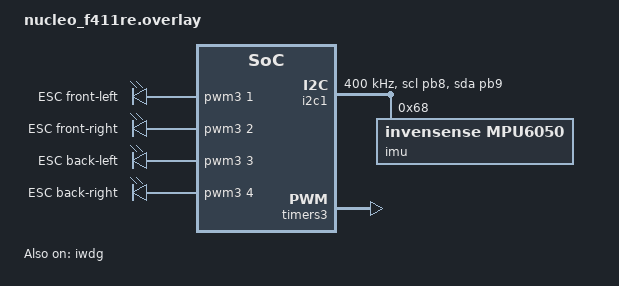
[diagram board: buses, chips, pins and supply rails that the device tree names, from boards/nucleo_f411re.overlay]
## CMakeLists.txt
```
# DroneCtrl, Zephyr application build.
#
#   west build -b nucleo_f411re zephyr
#   west flash
#   west debug
#
# The include path reaches back into firmware/include, which is the whole point:
# one copy of the control law built twice, rather than a Zephyr fork that drifts
# from the ESP32 one within a month.
#
# The core is header-only, so there are no core sources to list here. That is
# also why the host tests can link it with no board, and why this port was
# possible at all.

cmake_minimum_required(VERSION 3.20.0)

find_package(Zephyr REQUIRED HINTS $ENV{ZEPHYR_BASE})
project(dronectrl_zephyr LANGUAGES C CXX)

target_sources(app PRIVATE
  src/main.c
  src/control_binding.cpp
)

target_include_directories(app PRIVATE
  src
  ${CMAKE_CURRENT_SOURCE_DIR}/../firmware/include
)

# Warnings as errors on the flight build only. The simulator and the host tests
# can be noisier; the thing that flies cannot.
target_compile_options(app PRIVATE
  -Wall -Wextra -Werror
  -Wdouble-promotion   # a float promoted to double on an M4F is a silent 10x cost
  -Wshadow
)
```

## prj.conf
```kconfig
# DroneCtrl on Zephyr: application configuration.
#
# Chosen for a hard real-time control loop, so a few of these are the opposite
# of the usual defaults. Each non-obvious one says why.

# --- drivers the loop needs -------------------------------------------------
CONFIG_I2C=y
CONFIG_PWM=y
CONFIG_WATCHDOG=y
CONFIG_GPIO=y

# --- C++ for the header-only core -------------------------------------------
CONFIG_CPP=y
CONFIG_STD_CPP17=y
# No exceptions and no RTTI on a flight target: both put unbounded work on a
# path that has 4 ms to finish, and the core uses neither.
CONFIG_CPP_EXCEPTIONS=n
CONFIG_CPP_RTTI=n

# --- floating point ---------------------------------------------------------
# The M4F has a single-precision FPU. Without this the EKF and the three PIDs
# compile to soft-float calls and the loop will not close at 250 Hz.
CONFIG_FPU=y
# Save and restore FPU registers per thread. Needed as soon as more than one
# thread touches a float, and far cheaper to enable now than to debug later as
# occasional nonsense in the estimator.
CONFIG_FPU_SHARING=y

# --- scheduling -------------------------------------------------------------
# 1 kHz tick gives 250 Hz an exact divisor, so the period is 4.000 ms rather
# than the nearest representable value.
CONFIG_SYS_CLOCK_TICKS_PER_SEC=1000
CONFIG_TIMESLICING=n
CONFIG_THREAD_NAME=y
CONFIG_THREAD_MONITOR=y

# --- no dynamic allocation on the control path ------------------------------
# Heap at zero so an accidental malloc fails to link rather than failing in
# flight. The binding uses placement new into static storage for exactly this
# reason. Raising this later should be a deliberate decision with a diff.
CONFIG_HEAP_MEM_POOL_SIZE=0

# --- logging ----------------------------------------------------------------
CONFIG_LOG=y
CONFIG_LOG_MODE_DEFERRED=y    # never block the control thread to format a string
CONFIG_LOG_BUFFER_SIZE=2048
CONFIG_LOG_DEFAULT_LEVEL=3
CONFIG_CONSOLE=y
CONFIG_SERIAL=y
CONFIG_UART_CONSOLE=y

# --- catching the failures that matter --------------------------------------
# A control thread that overflows its stack on a deep estimator call should trap
# at the overflow, not corrupt a neighbouring thread and fly on.
CONFIG_HW_STACK_PROTECTION=y
CONFIG_STACK_SENTINEL=y
CONFIG_ASSERT=y
CONFIG_THREAD_STACK_INFO=y

# --- useful during bring-up, remove for flight ------------------------------
CONFIG_STACK_USAGE=y
CONFIG_INIT_STACKS=y
```

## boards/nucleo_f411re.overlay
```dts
/*
 * Board wiring for DroneCtrl on a Nucleo-F411RE.
 *
 * main.c resolves five node labels: imu, esc0, esc1, esc2, esc3. Porting to a
 * different board means another overlay with the same five labels and no change
 * to any C.
 *
 * ESC timing: a standard PWM ESC takes 1000 to 2000 microseconds of pulse inside
 * a 50 Hz frame, hence the 20 ms period. Moving to OneShot125 later changes the
 * period here and the pulse range in config.h; the mixer does not know or care.
 */

/ {
	chosen {
		zephyr,watchdog = &iwdg;
	};
};

&i2c1 {
	status = "okay";
	/* 400 kHz. The 14-byte burst is about 0.35 ms on the wire, comfortable
	 * inside a 4 ms step. At the default 100 kHz it is 1.4 ms, a third of the
	 * budget spent on one transfer. */
	clock-frequency = <I2C_BITRATE_FAST>;
	pinctrl-0 = <&i2c1_scl_pb8 &i2c1_sda_pb9>;
	pinctrl-names = "default";

	imu: mpu6050@68 {
		compatible = "invensense,mpu6050";
		reg = <0x68>;
		status = "okay";
	};
};

/* One timer drives all four channels, so the four outputs share a timebase and
 * cannot drift relative to each other. Four channels on four timers would let
 * the motors see the mixer solution at four slightly different moments. */
&timers3 {
	status = "okay";
	st,prescaler = <83>;        /* 84 MHz / (83 + 1) = 1 MHz, so 1 tick = 1 us */

	pwm3: pwm {
		status = "okay";
		pinctrl-0 = <&tim3_ch1_pa6 &tim3_ch2_pa7
			     &tim3_ch3_pb0 &tim3_ch4_pb1>;
		pinctrl-names = "default";
	};
};

/ {
	escs {
		compatible = "pwm-leds";

		esc0: esc_0 {
			pwms = <&pwm3 1 PWM_MSEC(20) PWM_POLARITY_NORMAL>;
			label = "ESC front-left";
		};
		esc1: esc_1 {
			pwms = <&pwm3 2 PWM_MSEC(20) PWM_POLARITY_NORMAL>;
			label = "ESC front-right";
		};
		esc2: esc_2 {
			pwms = <&pwm3 3 PWM_MSEC(20) PWM_POLARITY_NORMAL>;
			label = "ESC back-left";
		};
		esc3: esc_3 {
			pwms = <&pwm3 4 PWM_MSEC(20) PWM_POLARITY_NORMAL>;
			label = "ESC back-right";
		};
	};
};

&iwdg {
	status = "okay";
};
```

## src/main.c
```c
/*
 * DroneCtrl on Zephyr: the 250 Hz control thread.
 *
 * This file is the platform side. It owns timing, the I2C transfers, the four
 * PWM channels and the watchdog. It contains no control law, because that
 * already exists in firmware/include and is already covered by the host tests.
 *
 * The timing design is the part worth reading.
 *
 * A superloop with a delay at the bottom accumulates drift: the iteration takes
 * however long it takes and the delay adds to that rather than absorbing it, so
 * the real period is 4 ms plus the work and it moves whenever the work moves. A
 * PID that divides by a nominal dt it is not actually running at is being
 * quietly mistuned by its own scheduler, and the gains in config.h were derived
 * for 250 Hz exactly.
 *
 * So the period comes from a k_timer, which fires on an absolute schedule, and
 * the thread blocks on a semaphore the timer gives. An overrun leaves the next
 * tick already pending, so the thread runs again immediately rather than
 * sliding, and the overrun is counted and reported instead of hidden.
 */

#include <zephyr/kernel.h>
#include <zephyr/device.h>
#include <zephyr/drivers/i2c.h>
#include <zephyr/drivers/pwm.h>
#include <zephyr/drivers/watchdog.h>
#include <zephyr/logging/log.h>
#include <zephyr/sys/atomic.h>

#include "control_binding.h"

LOG_MODULE_REGISTER(dronectrl, LOG_LEVEL_INF);

/* LOOP_FREQUENCY_HZ in firmware/include/config.h. Same rate as the ESP32 build,
 * so the derived gains carry over unchanged. */
#define CONTROL_HZ        250
#define CONTROL_PERIOD_US (1000000 / CONTROL_HZ)

#define CONTROL_STACK_SIZE 4096
/* Cooperative, so nothing preempts a step once it has started. A preempted
 * mixer write is a partial actuator update. */
#define CONTROL_PRIORITY   K_PRIO_COOP(4)

K_THREAD_STACK_DEFINE(control_stack, CONTROL_STACK_SIZE);
static struct k_thread control_thread;

static K_SEM_DEFINE(tick_sem, 0, 1);
static struct k_timer control_timer;

static atomic_t overruns;
static atomic_t ticks;

static const struct i2c_dt_spec imu_i2c = I2C_DT_SPEC_GET(DT_NODELABEL(imu));

static const struct pwm_dt_spec esc[4] = {
	PWM_DT_SPEC_GET(DT_NODELABEL(esc0)),   /* front left  */
	PWM_DT_SPEC_GET(DT_NODELABEL(esc1)),   /* front right */
	PWM_DT_SPEC_GET(DT_NODELABEL(esc2)),   /* back left   */
	PWM_DT_SPEC_GET(DT_NODELABEL(esc3)),   /* back right  */
};

#if DT_HAS_CHOSEN(zephyr_watchdog)
static const struct device *const wdt = DEVICE_DT_GET(DT_CHOSEN(zephyr_watchdog));
static int wdt_channel = -1;
#endif

static void on_tick(struct k_timer *t)
{
	ARG_UNUSED(t);
	atomic_inc(&ticks);
	/* k_sem_give on a semaphore already at its limit of 1 is a no-op, which is
	 * exactly the behaviour wanted: the previous step had not finished, so the
	 * tick is recorded as an overrun and no backlog builds. */
	if (k_sem_count_get(&tick_sem) > 0) {
		atomic_inc(&overruns);
	}
	k_sem_give(&tick_sem);
}

static void control_main(void *a, void *b, void *c)
{
	ARG_UNUSED(a); ARG_UNUSED(b); ARG_UNUSED(c);

	const float dt = 1.0f / (float)CONTROL_HZ;
	uint32_t report_at = CONTROL_HZ;

	for (;;) {
		k_sem_take(&tick_sem, K_FOREVER);

		struct dc_imu_sample imu;
		const int rc = dc_imu_read(&imu_i2c, &imu);

		struct dc_motor_outputs out;
		dc_control_step(&imu, rc == 0, dt, k_uptime_get_32(), &out);

		/* Written last and together, so the four ESCs always see one coherent
		 * mixer solution. */
		for (int i = 0; i < 4; i++) {
			(void)pwm_set_pulse_dt(&esc[i], PWM_USEC(out.pulse_us[i]));
		}

#if DT_HAS_CHOSEN(zephyr_watchdog)
		/* Fed only after a complete step. A watchdog fed from a timer callback
		 * proves the board is powered, not that the loop is running, which is
		 * the only thing worth proving. */
		if (wdt_channel >= 0) {
			(void)wdt_feed(wdt, wdt_channel);
		}
#endif

		if (--report_at == 0) {
			report_at = CONTROL_HZ;
			const uint32_t o = (uint32_t)atomic_clear(&overruns);
			const uint32_t n = (uint32_t)atomic_clear(&ticks);
			if (o > 0) {
				LOG_WRN("control overruns: %u of %u ticks", o, n);
			} else {
				LOG_INF("control: %u ticks, no overrun", n);
			}
		}
	}
}

int main(void)
{
	LOG_INF("DroneCtrl on Zephyr, %d Hz control loop", CONTROL_HZ);

	if (!device_is_ready(imu_i2c.bus)) {
		LOG_ERR("I2C bus not ready");
		return -ENODEV;
	}
	for (int i = 0; i < 4; i++) {
		if (!pwm_is_ready_dt(&esc[i])) {
			LOG_ERR("ESC %d PWM not ready", i);
			return -ENODEV;
		}
	}

	/* Hold every ESC at its disarmed pulse BEFORE anything else runs. Motors
	 * that spin during bring-up are the failure that costs fingers. */
	for (int i = 0; i < 4; i++) {
		(void)pwm_set_pulse_dt(&esc[i], PWM_USEC(DC_ESC_DISARMED_US));
	}

	const int rc = dc_imu_init(&imu_i2c);
	if (rc != 0) {
		LOG_ERR("IMU init failed (%d)", rc);
		return rc;
	}
	dc_control_init();

#if DT_HAS_CHOSEN(zephyr_watchdog)
	if (device_is_ready(wdt)) {
		struct wdt_timeout_cfg cfg = {
			/* Four missed control steps: tight enough to catch a hung loop
			 * quickly, loose enough that one slow step is not a reset. */
			.window.min = 0,
			.window.max = (4 * 1000) / CONTROL_HZ,
			.callback = NULL,
			.flags = WDT_FLAG_RESET_SOC,
		};
		wdt_channel = wdt_install_timeout(wdt, &cfg);
		if (wdt_channel >= 0) {
			(void)wdt_setup(wdt, WDT_OPT_PAUSE_HALTED_BY_DBG);
			LOG_INF("watchdog armed at %u ms", cfg.window.max);
		}
	}
#endif

	k_thread_create(&control_thread, control_stack, CONTROL_STACK_SIZE,
			control_main, NULL, NULL, NULL,
			CONTROL_PRIORITY, 0, K_NO_WAIT);
	k_thread_name_set(&control_thread, "control");

	k_timer_init(&control_timer, on_tick, NULL);
	k_timer_start(&control_timer, K_USEC(CONTROL_PERIOD_US),
		      K_USEC(CONTROL_PERIOD_US));

	return 0;
}
```

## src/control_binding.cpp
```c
/*
 * DroneCtrl control core, bound to Zephyr.
 *
 * Note which headers are NOT included: config.h, imu.h and motor_mixer.h.
 *
 * config.h cannot be included from a Zephyr build as it stands, because it
 * declares `constexpr uint8_t PIN_BATTERY = A0;` and `A0` is an Arduino macro.
 * Everything else in that file is pure tuning data. The clean fix upstream is
 * to split it into config.h (tuning, platform-free) and board_pins_arduino.h,
 * after which this file includes config.h like any other consumer and the
 * duplicated constants below disappear. Until then they are mirrored here, and
 * a mirrored constant is a liability: change a gain in config.h and change it
 * here in the same commit.
 *
 * The integral and output clamps are taken from firmware/src/main.cpp, which
 * constructs its PIDs as (kp, ki, kd, 100.0f, 400.0f), so both platforms run
 * the same controller rather than two controllers that merely share gains.
 */

#include "control_binding.h"

#include <zephyr/drivers/i2c.h>
#include <zephyr/kernel.h>
#include <zephyr/sys/byteorder.h>

#include "attitude_ekf.h"
#include "pid_controller.h"
#include "mixer_math.h"
#include "flight_state.h"

/* ---- mirrored from firmware/include/config.h ------------------------------ */
namespace {

constexpr float kPidRollKp  = 2.7f;
constexpr float kPidRollKi  = 1.8f;
constexpr float kPidRollKd  = 0.55f;
constexpr float kPidPitchKp = 2.7f;
constexpr float kPidPitchKi = 1.8f;
constexpr float kPidPitchKd = 0.55f;
constexpr float kPidYawKp   = 4.0f;
constexpr float kPidYawKi   = 0.5f;
constexpr float kPidYawKd   = 0.0f;

/* from firmware/src/main.cpp */
constexpr float kPidMaxIntegral = 100.0f;
constexpr float kPidMaxOutput   = 400.0f;

constexpr float kMaxTiltAngleDeg = 45.0f;
constexpr float kMinBatteryVolts = 10.5f;

constexpr float kEscMin  = 1000.0f;
constexpr float kEscMax  = 2000.0f;
constexpr float kEscIdle = 1050.0f;

/* MPU6050 registers. The same values imu.h writes; a register map does not
 * change with the RTOS, which is why this driver is a substitution and not a
 * rewrite. */
constexpr uint8_t kRegSmplrtDiv   = 0x19;
constexpr uint8_t kRegConfig      = 0x1A;
constexpr uint8_t kRegGyroConfig  = 0x1B;
constexpr uint8_t kRegAccelConfig = 0x1C;
constexpr uint8_t kRegAccelXoutH  = 0x3B;
constexpr uint8_t kRegPwrMgmt1    = 0x6B;
constexpr uint8_t kRegWhoAmI      = 0x75;

/* +-500 deg/s and +-4 g, matching the scale factors below. */
constexpr float kGyroLsbPerDps = 65.5f;
constexpr float kAccelLsbPerG  = 8192.0f;

/* ---- the core -------------------------------------------------------------
 *
 * Plain file-scope objects. The first attempt used placement new into static
 * storage, which does not compile here: Zephyr builds C++ with `-nostdinc++`
 * against lib/cpp/minimal/include, and the minimal C++ library does not
 * provide the placement `operator new`. Including <new> changes nothing,
 * because there is no <new> to include.
 *
 * Static objects are the right answer anyway. The heap is configured to zero,
 * so nothing can allocate, and these constructors only initialise member
 * floats: no driver, no clock, no console, so nothing cares that they run
 * before the kernel is up.
 *
 * Declaration order matters within a translation unit, so the tuning is
 * declared before the filter that takes a reference to it.
 */
const AttitudeEKF::Tuning kEkfTuning{};          /* the header's defaults */
AttitudeEKF g_ekf{kEkfTuning};

/* Default-constructed and given its limits in dc_control_init, mirroring
 * firmware/src/main.cpp, which does `FlightStateMachine fsm;` then setLimits. */
FlightStateMachine g_fsm;

PIDController<float> g_pid_roll{kPidRollKp, kPidRollKi, kPidRollKd,
				kPidMaxIntegral, kPidMaxOutput};
PIDController<float> g_pid_pitch{kPidPitchKp, kPidPitchKi, kPidPitchKd,
				 kPidMaxIntegral, kPidMaxOutput};
PIDController<float> g_pid_yaw{kPidYawKp, kPidYawKi, kPidYawKd,
			       kPidMaxIntegral, kPidMaxOutput};

bool g_initialised_from_accel;

} /* namespace */

/* ---- IMU over Zephyr I2C -------------------------------------------------- */

extern "C" int dc_imu_init(const struct i2c_dt_spec *bus)
{
	uint8_t who = 0;
	int rc = i2c_reg_read_byte_dt(bus, kRegWhoAmI, &who);
	if (rc != 0) {
		return rc;
	}
	/* 0x68 is the MPU6050; 0x70 and 0x72 are MPU6500 and MPU9250 parts that
	 * answer the same register map. Accepting those is deliberate. Accepting
	 * anything at all is not. */
	if (who != 0x68U && who != 0x70U && who != 0x72U) {
		return -ENODEV;
	}

	/* Wake up, and select the X gyro as the clock source: the internal
	 * oscillator drifts enough over a flight to matter to an integrator. */
	rc = i2c_reg_write_byte_dt(bus, kRegPwrMgmt1, 0x01U);
	if (rc != 0) {
		return rc;
	}
	k_msleep(100);

	/* DLPF at 42 Hz: above the airframe's own dynamics, well below the 125 Hz
	 * Nyquist of a 250 Hz loop, so motor noise goes without adding phase lag
	 * that the derivative term would then amplify. */
	rc = i2c_reg_write_byte_dt(bus, kRegConfig, 0x03U);
	if (rc != 0) {
		return rc;
	}
	/* 1 kHz / (1 + 3) = 250 Hz, matching the control loop exactly, so every
	 * step reads one fresh sample and never the same one twice. */
	rc = i2c_reg_write_byte_dt(bus, kRegSmplrtDiv, 0x03U);
	if (rc != 0) {
		return rc;
	}
	rc = i2c_reg_write_byte_dt(bus, kRegGyroConfig, 0x08U);   /* +-500 deg/s */
	if (rc != 0) {
		return rc;
	}
	return i2c_reg_write_byte_dt(bus, kRegAccelConfig, 0x08U); /* +-4 g */
}

extern "C" int dc_imu_read(const struct i2c_dt_spec *bus, struct dc_imu_sample *out)
{
	/* One burst of 14 bytes: accel x/y/z, temperature, gyro x/y/z.
	 *
	 * Deliberately not six separate register reads. At 250 Hz those spread one
	 * sample across a window wide enough that the accelerometer and the
	 * gyroscope no longer describe the same instant, and the estimator sees
	 * that as noise no amount of tuning removes. */
	uint8_t raw[14];
	const int rc = i2c_burst_read_dt(bus, kRegAccelXoutH, raw, sizeof(raw));
	if (rc != 0) {
		return rc;
	}

	const int16_t ax = static_cast<int16_t>(sys_get_be16(&raw[0]));
	const int16_t ay = static_cast<int16_t>(sys_get_be16(&raw[2]));
	const int16_t az = static_cast<int16_t>(sys_get_be16(&raw[4]));
	/* raw[6..7] is temperature, skipped */
	const int16_t gx = static_cast<int16_t>(sys_get_be16(&raw[8]));
	const int16_t gy = static_cast<int16_t>(sys_get_be16(&raw[10]));
	const int16_t gz = static_cast<int16_t>(sys_get_be16(&raw[12]));

	out->accel_g[0] = static_cast<float>(ax) / kAccelLsbPerG;
	out->accel_g[1] = static_cast<float>(ay) / kAccelLsbPerG;
	out->accel_g[2] = static_cast<float>(az) / kAccelLsbPerG;
	out->gyro_dps[0] = static_cast<float>(gx) / kGyroLsbPerDps;
	out->gyro_dps[1] = static_cast<float>(gy) / kGyroLsbPerDps;
	out->gyro_dps[2] = static_cast<float>(gz) / kGyroLsbPerDps;
	return 0;
}

/* ---- control ------------------------------------------------------------- */

extern "C" void dc_control_init(void)
{
	FlightLimits limits{};
	limits.max_tilt_deg = kMaxTiltAngleDeg;
	limits.min_battery_volts = kMinBatteryVolts;
	g_fsm.setLimits(limits);

	g_ekf.reset();
	g_pid_roll.reset();
	g_pid_pitch.reset();
	g_pid_yaw.reset();
	g_fsm.reset();

	g_initialised_from_accel = false;
}

extern "C" void dc_control_step(const struct dc_imu_sample *imu, bool imu_valid,
				float dt, uint32_t now_ms,
				struct dc_motor_outputs *out)
{
	/* Defined output first, so every early return below is still safe for the
	 * caller, which writes the ESCs unconditionally. */
	for (int i = 0; i < 4; i++) {
		out->pulse_us[i] = DC_ESC_DISARMED_US;
	}
	out->motors_enabled = false;
	out->authority_limited = false;

	/* 1. estimator */
	if (imu_valid) {
		if (!g_initialised_from_accel) {
			g_ekf.initializeFromAccel(imu->accel_g[0], imu->accel_g[1],
						   imu->accel_g[2]);
			g_initialised_from_accel = true;
		}
		g_ekf.predict(imu->gyro_dps[0], imu->gyro_dps[1], imu->gyro_dps[2], dt);
		g_ekf.updateAccel(imu->accel_g[0], imu->accel_g[1], imu->accel_g[2]);
	} else if (g_initialised_from_accel) {
		/* A dropped read is not a level airframe. Propagate and let the state
		 * machine see a diverging estimate, rather than feeding the filter a
		 * zero sample it would believe. */
		g_ekf.predict(0.0f, 0.0f, 0.0f, dt);
	}

	/* 2. state machine.
	 *
	 * The receiver and the battery are not wired on this build yet, so
	 * signal_lost is held true on purpose: the machine cannot leave DISARMED
	 * and a bench board cannot spin a motor. */
	FlightInputs in{};
	in.roll_deg = g_ekf.getRollDeg();
	in.pitch_deg = g_ekf.getPitchDeg();
	in.estimator_diverged = g_ekf.isDiverged();
	in.signal_lost = true;        /* TODO: wire the receiver */
	in.throttle_norm = 0.0f;
	in.yaw_norm = 0.0f;
	in.battery_volts = 12.6f;     /* TODO: wire the battery ADC */

	g_fsm.update(in, now_ms, dt);

	if (!g_fsm.motorsEnabled()) {
		g_pid_roll.reset();
		g_pid_pitch.reset();
		g_pid_yaw.reset();
		return;
	}

	/* 3. attitude PIDs. Setpoints come from the sticks in a flying build;
	 * level is the bench case. */
	const bool hold = g_fsm.holdIntegrators();
	const float roll_cmd = g_pid_roll.compute(0.0f, in.roll_deg, dt, hold);
	const float pitch_cmd = g_pid_pitch.compute(0.0f, in.pitch_deg, dt, hold);
	const float yaw_cmd = g_pid_yaw.compute(0.0f, imu->gyro_dps[2], dt, hold);

	/* 4. mix. The same pure function the host tests and the SIL harness call. */
	const float base = kEscIdle +
		g_fsm.commandedThrottle() * (kEscMax - kEscIdle);
	const mixer::Outputs mix = mixer::mixX(base, pitch_cmd, roll_cmd, yaw_cmd,
					       kEscMin, kEscMax);

	out->pulse_us[0] = static_cast<uint16_t>(mix.fl);
	out->pulse_us[1] = static_cast<uint16_t>(mix.fr);
	out->pulse_us[2] = static_cast<uint16_t>(mix.bl);
	out->pulse_us[3] = static_cast<uint16_t>(mix.br);
	out->motors_enabled = true;
	out->authority_limited = mix.authority_limited;
}
```

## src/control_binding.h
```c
/*
 * The single seam between Zephyr and the existing DroneCtrl core.
 *
 * main.c is C and owns the platform: timing, I2C, PWM, watchdog. The core is
 * header-only C++. This header is the extern "C" boundary between them.
 *
 * The port uses the PURE classes directly and leaves the two Arduino-bound ones
 * behind:
 *
 *   used as-is   AttitudeEKF         attitude_ekf.h
 *                PIDController       pid_controller.h
 *                mixer::mixX         mixer_math.h
 *                FlightStateMachine  flight_state.h
 *
 *   replaced     IMU         imu.h owns Wire register reads AND wraps the EKF.
 *                            Zephyr reads the MPU6050 over i2c_dt_spec and
 *                            drives AttitudeEKF directly.
 *                MotorMixer  motor_mixer.h computes the mix and then writes
 *                            Arduino pins. Only the write is Arduino-bound,
 *                            and mixer_math.h already holds the arithmetic, so
 *                            the Zephyr build calls mixX and writes PWM itself.
 *
 * That split is why this port is a weekend and not a rewrite: the separation
 * between mixer_math.h and motor_mixer.h was already made.
 */

#ifndef DC_CONTROL_BINDING_H
#define DC_CONTROL_BINDING_H

#include <stdbool.h>
#include <stdint.h>
#include <zephyr/drivers/i2c.h>

#ifdef __cplusplus
extern "C" {
#endif

/* Mirrors ESC_MIN in firmware/include/config.h. */
#define DC_ESC_DISARMED_US 1000

struct dc_imu_sample {
	float gyro_dps[3];   /* p, q, r in degrees per second */
	float accel_g[3];    /* x, y, z in g */
};

struct dc_motor_outputs {
	uint16_t pulse_us[4];   /* front-left, front-right, back-left, back-right */
	bool motors_enabled;
	bool authority_limited;
};

/* Configure the MPU6050 over I2C. Returns 0, or a negative errno. */
int dc_imu_init(const struct i2c_dt_spec *bus);

/* One burst read of all six axes. Returns 0 on success. */
int dc_imu_read(const struct i2c_dt_spec *bus, struct dc_imu_sample *out);

/* Construct the estimator, the three PIDs and the state machine. */
void dc_control_init(void);

/* One control step at a fixed dt. Always writes a defined output, including on
 * the failure path, because main.c writes the ESCs unconditionally. */
void dc_control_step(const struct dc_imu_sample *imu, bool imu_valid,
		     float dt, uint32_t now_ms, struct dc_motor_outputs *out);

#ifdef __cplusplus
}
#endif

#endif /* DC_CONTROL_BINDING_H */
```
